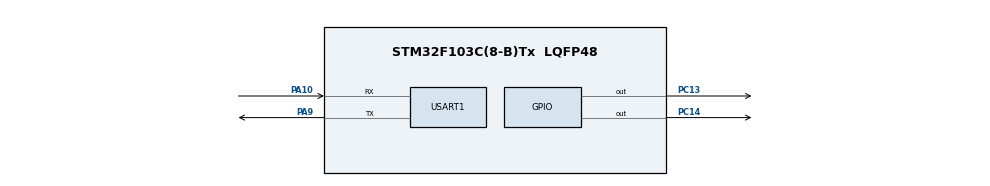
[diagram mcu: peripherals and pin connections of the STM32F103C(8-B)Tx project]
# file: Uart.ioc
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Mcu.Family=STM32F1
Mcu.Name=STM32F103C(8-B)Tx
Mcu.Package=LQFP48
NVIC.PriorityGroup=NVIC_PRIORITYGROUP_4
NVIC.USART1_IRQn=true\:0\:0\:false\:false\:true\:true
PA10.Mode=Asynchronous
PA10.Signal=USART1_RX
PA13.Mode=Serial_Wire
PA13.Signal=SYS_JTMS-SWDIO
PA14.Mode=Serial_Wire
PA14.Signal=SYS_JTCK-SWCLK
PA9.Mode=Asynchronous
PA9.Signal=USART1_TX
PB3.Signal=SYS_JTDO-TRACESWO
PC13-TAMPER-RTC.Signal=GPIO_Output
PC14-OSC32_IN.Signal=GPIO_Output
PD0-OSC_IN.Mode=HSE-External-Oscillator
PD0-OSC_IN.Signal=RCC_OSC_IN
PD1-OSC_OUT.Mode=HSE-External-Oscillator
PD1-OSC_OUT.Signal=RCC_OSC_OUT
ProjectManager.HeapSize=0x200
ProjectManager.StackSize=0x400
ProjectManager.TargetToolchain=MDK-ARM V5
RCC.APB1Freq_Value=8000000
RCC.APB2Freq_Value=8000000
USART1.VirtualMode=VM_ASYNC
board=custom

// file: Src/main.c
/**
  ******************************************************************************
  * @file           : main.c
  * @brief          : Main program body
  ******************************************************************************
  ** This notice applies to any and all portions of this file
  * that are not between comment pairs USER CODE BEGIN and
  * USER CODE END. Other portions of this file, whether
  * inserted by the user or by software development tools
  * are owned by their respective copyright owners.
  *
  * COPYRIGHT(c) 2018 STMicroelectronics
  *
  * Redistribution and use in source and binary forms, with or without modification,
  * are permitted provided that the following conditions are met:
  *   1. Redistributions of source code must retain the above copyright notice,
  *      this list of conditions and the following disclaimer.
  *   2. Redistributions in binary form must reproduce the above copyright notice,
  *      this list of conditions and the following disclaimer in the documentation
  *      and/or other materials provided with the distribution.
  *   3. Neither the name of STMicroelectronics nor the names of its contributors
  *      may be used to endorse or promote products derived from this software
  *      without specific prior written permission.
  *
  * THIS SOFTWARE IS PROVIDED BY THE COPYRIGHT HOLDERS AND CONTRIBUTORS "AS IS"
  * AND ANY EXPRESS OR IMPLIED WARRANTIES, INCLUDING, BUT NOT LIMITED TO, THE
  * IMPLIED WARRANTIES OF MERCHANTABILITY AND FITNESS FOR A PARTICULAR PURPOSE ARE
  * DISCLAIMED. IN NO EVENT SHALL THE COPYRIGHT HOLDER OR CONTRIBUTORS BE LIABLE
  * FOR ANY DIRECT, INDIRECT, INCIDENTAL, SPECIAL, EXEMPLARY, OR CONSEQUENTIAL
  * DAMAGES (INCLUDING, BUT NOT LIMITED TO, PROCUREMENT OF SUBSTITUTE GOODS OR
  * SERVICES; LOSS OF USE, DATA, OR PROFITS; OR BUSINESS INTERRUPTION) HOWEVER
  * CAUSED AND ON ANY THEORY OF LIABILITY, WHETHER IN CONTRACT, STRICT LIABILITY,
  * OR TORT (INCLUDING NEGLIGENCE OR OTHERWISE) ARISING IN ANY WAY OUT OF THE USE
  * OF THIS SOFTWARE, EVEN IF ADVISED OF THE POSSIBILITY OF SUCH DAMAGE.
  *
  ******************************************************************************
  */
#include "main.h"
#include "stm32f1xx_hal.h"

/* USER CODE BEGIN Includes */
#include "string.h"
/* USER CODE END Includes */

UART_HandleTypeDef huart1;

/* USER CODE BEGIN PV */
/* Private variables ---------------------------------------------------------*/
char veri[5];
char buffer_tx[7];
int led;
//uint8_t buffer_tx[10] = {10,11,12,13,14,15,16,17,18,19};
/* USER CODE END PV */

void SystemClock_Config(void);
static void MX_GPIO_Init(void);
static void MX_USART1_UART_Init(void);

/* USER CODE BEGIN PFP */
/* Private function prototypes -----------------------------------------------*/

/* USER CODE END PFP */

/* USER CODE BEGIN 0 */
void HAL_UART_TxCpltCallback(UART_HandleTypeDef *huart)
{

}
void HAL_UART_RxCpltCallback(UART_HandleTypeDef *huart)
{
	printf("gelen: %s\n", veri);
	printf("open : %d\n", strcmp(veri, "led:1"));
	printf("close: %d\n", strcmp(veri, "led:0"));
	if(strcmp(veri, "led:1") == 0)
	{
		HAL_GPIO_WritePin(GPIOC, GPIO_PIN_13, GPIO_PIN_RESET);
		strcpy(buffer_tx, "opened\n");
		printf("led opened\n");
		led = 1;
	}
	else if(strcmp(veri, "led:0") == 0)
	{
		HAL_GPIO_WritePin(GPIOC, GPIO_PIN_13, GPIO_PIN_SET);
		strcpy(buffer_tx, "closed\n");
		printf("led closed\n");
		led = 0;
	}
	HAL_UART_Transmit(&huart1, (uint8_t*)buffer_tx, sizeof(buffer_tx), 100);
	strcpy(veri, "     ");
	HAL_UART_Receive_IT(&huart1, (uint8_t*)veri, sizeof(veri));
}
/* USER CODE END 0 */

int main(void)
{

  /* MCU Configuration----------------------------------------------------------*/

  /* Reset of all peripherals, Initializes the Flash interface and the Systick. */
  HAL_Init();

  /* Configure the system clock */
  SystemClock_Config();

  /* Initialize all configured peripherals */
  MX_GPIO_Init();
  MX_USART1_UART_Init();
  /* USER CODE BEGIN 2 */
	HAL_UART_Receive_IT(&huart1, (uint8_t*)veri, sizeof(veri));

	//HAL_UART_Transmit_IT(&huart1, buffer_tx, 10);
  /* USER CODE END 2 */

  /* Infinite loop */
  while (1)
  {

  }

}

void SystemClock_Config(void)
{

  RCC_OscInitTypeDef RCC_OscInitStruct;
  RCC_ClkInitTypeDef RCC_ClkInitStruct;

    /**Initializes the CPU, AHB and APB busses clocks
    */
  RCC_OscInitStruct.OscillatorType = RCC_OSCILLATORTYPE_HSI;
  RCC_OscInitStruct.HSIState = RCC_HSI_ON;
  RCC_OscInitStruct.HSICalibrationValue = 16;
  RCC_OscInitStruct.PLL.PLLState = RCC_PLL_NONE;
  if (HAL_RCC_OscConfig(&RCC_OscInitStruct) != HAL_OK)
  {
    _Error_Handler(__FILE__, __LINE__);
  }

    /**Initializes the CPU, AHB and APB busses clocks
    */
  RCC_ClkInitStruct.ClockType = RCC_CLOCKTYPE_HCLK|RCC_CLOCKTYPE_SYSCLK
                              |RCC_CLOCKTYPE_PCLK1|RCC_CLOCKTYPE_PCLK2;
  RCC_ClkInitStruct.SYSCLKSource = RCC_SYSCLKSOURCE_HSI;
  RCC_ClkInitStruct.AHBCLKDivider = RCC_SYSCLK_DIV1;
  RCC_ClkInitStruct.APB1CLKDivider = RCC_HCLK_DIV1;
  RCC_ClkInitStruct.APB2CLKDivider = RCC_HCLK_DIV1;

  if (HAL_RCC_ClockConfig(&RCC_ClkInitStruct, FLASH_LATENCY_0) != HAL_OK)
  {
    _Error_Handler(__FILE__, __LINE__);
  }

    /**Configure the Systick interrupt time
    */
  HAL_SYSTICK_Config(HAL_RCC_GetHCLKFreq()/1000);

    /**Configure the Systick
    */
  HAL_SYSTICK_CLKSourceConfig(SYSTICK_CLKSOURCE_HCLK);

  /* SysTick_IRQn interrupt configuration */
  HAL_NVIC_SetPriority(SysTick_IRQn, 0, 0);
}

/* USART1 init function */
static void MX_USART1_UART_Init(void)
{

  huart1.Instance = USART1;
  huart1.Init.BaudRate = 115200;
  huart1.Init.WordLength = UART_WORDLENGTH_8B;
  huart1.Init.StopBits = UART_STOPBITS_1;
  huart1.Init.Parity = UART_PARITY_NONE;
  huart1.Init.Mode = UART_MODE_TX_RX;
  huart1.Init.HwFlowCtl = UART_HWCONTROL_NONE;
  huart1.Init.OverSampling = UART_OVERSAMPLING_16;
  if (HAL_UART_Init(&huart1) != HAL_OK)
  {
    _Error_Handler(__FILE__, __LINE__);
  }

}

/** Configure pins as
        * Analog
        * Input
        * Output
        * EVENT_OUT
        * EXTI
*/
static void MX_GPIO_Init(void)
{

  GPIO_InitTypeDef GPIO_InitStruct;

  /* GPIO Ports Clock Enable */
  __HAL_RCC_GPIOC_CLK_ENABLE();
  __HAL_RCC_GPIOD_CLK_ENABLE();
  __HAL_RCC_GPIOA_CLK_ENABLE();
  __HAL_RCC_GPIOB_CLK_ENABLE();

  /*Configure GPIO pin Output Level */
  HAL_GPIO_WritePin(GPIOC, GPIO_PIN_13|GPIO_PIN_14, GPIO_PIN_RESET);

  /*Configure GPIO pins : PC13 PC14 */
  GPIO_InitStruct.Pin = GPIO_PIN_13|GPIO_PIN_14;
  GPIO_InitStruct.Mode = GPIO_MODE_OUTPUT_PP;
  GPIO_InitStruct.Pull = GPIO_NOPULL;
  GPIO_InitStruct.Speed = GPIO_SPEED_FREQ_LOW;
  HAL_GPIO_Init(GPIOC, &GPIO_InitStruct);

}

void _Error_Handler(char *file, int line)
{
  while(1)
  {
  }
}

/************************ (C) COPYRIGHT STMicroelectronics *****END OF FILE****/
